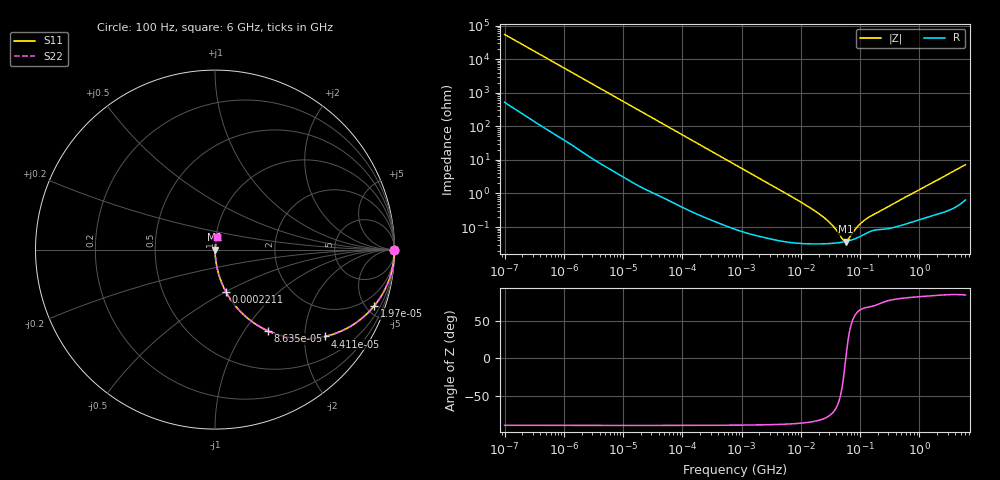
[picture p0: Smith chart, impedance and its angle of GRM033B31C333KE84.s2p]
!Murata Part Number: GRM033B31C333KE84
!These Parameters are Measured in Series Mode Connection
!Data Generated on Mar 30, 2021
!  o--ll--o
!Port1  Port2
!  o------o
!Operation Temp=25[degC], DC Bias Voltage=0[V]
!Freq. Start=100[Hz] Stop=6[GHz] 401[Steps]
# Hz S RI R 50
!Freq.(Hz) S11(Real) S11(Imag) S21(Real) S21(Imag) S12(Real) S12(Imag) S22(Real) S22(Imag)
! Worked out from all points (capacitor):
!   401 points, 100 Hz to 6 GHz, reference 50 ohm
!   read as one part in series: C = 29.2 nF near 109 Hz
!   lowest |Z| = 37.2 mohm at 56.99 MHz (marker M1)
!   series resonance near 57.4 MHz, so ESL is about 260 pH
!   S11 on the Smith chart (normalised r, x): 100 Hz: open; 19.7 kHz: 1.03, -5.64; 44.11 kHz: 1.02, -2.53; 86.35 kHz: 1.01, -1.30; 221.1 kHz: 1.00, -0.51; 6 GHz: 1.01, +0.14
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100  1 -0.00184  2.1e-05 0.00184  2.1e-05 0.00184  1 -0.00184
2008  0.9984 -0.0363  0.00155 0.0363  0.00155 0.0363  0.9984 -0.0363
7036  0.9835 -0.1247  0.0165 0.1247  0.0165 0.1247  0.9835 -0.1247
19704  0.8871 -0.3137  0.1129 0.3137  0.1129 0.3137  0.8871 -0.3137
28191  0.7945 -0.4011  0.2055 0.4011  0.2055 0.4011  0.7945 -0.4011
40335  0.6555 -0.4721  0.3445 0.4721  0.3445 0.4721  0.6555 -0.4721
44113  0.6144 -0.4836  0.3856 0.4836  0.3856 0.4836  0.6144 -0.4836
60352  0.4615 -0.4952  0.5385 0.4952  0.5385 0.4952  0.4615 -0.4952
86348  0.2967 -0.4534  0.7033 0.4534  0.7033 0.4534  0.2967 -0.4534
135116  0.1485 -0.352  0.8515 0.352  0.8515 0.352  0.1485 -0.352
221108  0.0622 -0.2376  0.9378 0.2376  0.9378 0.2376  0.0622 -0.2376
774597  0.00613 -0.0724  0.9939 0.0724  0.9939 0.0724  0.00613 -0.0724
1.555665e7  0.000327 -0.0034  0.9997 0.0034  0.9997 0.0034  0.000327 -0.0034
3.045065e7  0.000325 -0.00135  0.9997 0.00135  0.9997 0.00135  0.000325 -0.00135
3.80911e7  0.000334 -0.000837  0.9997 0.000837  0.9997 0.000837  0.000334 -0.000837
4.983056e7  0.000355 -0.00028  0.9996 0.00028  0.9996 0.00028  0.000355 -0.00028
5.699437e7  0.000372 -1.37e-05  0.9996 1.37e-05  0.9996 1.37e-05  0.000372 -1.37e-05
6.233367e7  0.000386 0.000163  0.9996 -0.000163  0.9996 -0.000163  0.000386 0.000163
8.918374e7  0.000478 0.00088  0.9995 -0.00088  0.9995 -0.00088  0.000478 0.00088
1.166697e8  0.000602 0.00144  0.9994 -0.00144  0.9994 -0.00144  0.000602 0.00144
3.124326e8  0.000929 0.00416  0.9991 -0.00416  0.9991 -0.00416  0.000929 0.00416
6e9  0.0114 0.0707  0.9886 -0.0707  0.9886 -0.0707  0.0114 0.0707
